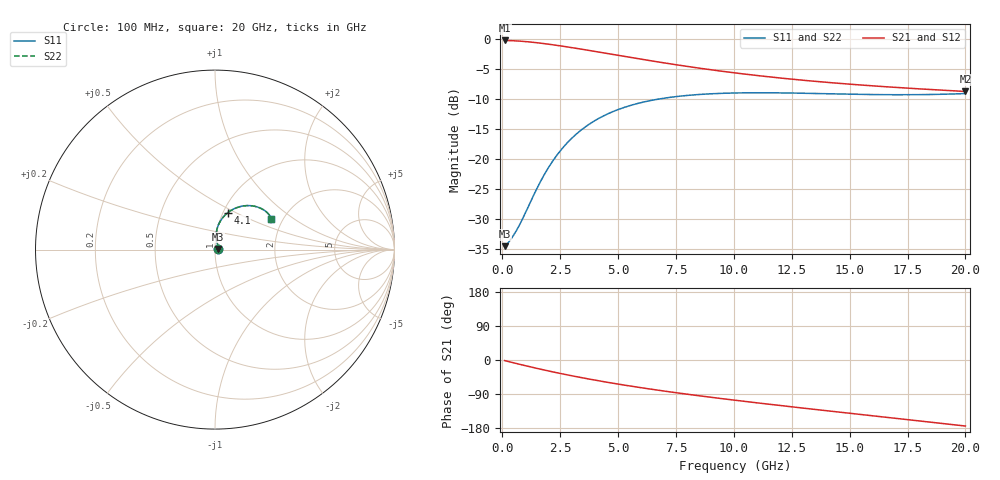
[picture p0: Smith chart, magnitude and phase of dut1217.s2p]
! Touchstone file exported from HFSS 2024.1.0
!  File:  C:/UserFiles/LocalFiles/RDL_TSV_Batchsim/temp_RDL_TSV_1217_1780260960.aedt
!  Generated:  05:13:03 AM Jun  1, 2026
!  Design:  RDL_TSV
!  Project:  temp_RDL_TSV_1217_1780260960
!  Setup:  Setup1
!  Solution:  Sweep
! Variables:
!  dtsv = 7.62um
!  hbump = 3um
!  htsv = 99.11um
!  ldown = 171.18um
!  lrdl = 386.02um
!  p = 40
!  p1 = 47.22um
!  rhole = 10um
!  subl = 2057.62um
!  t = 450um
!  tdown = 2.77um
!  trdl = 3.78um
!  viad = 10um
!  wdown = 11.27um
!  wrdl = 12.11um
!  xbump = 18um
# GHz S MA R 50.000000
! Terminal data exported
! Port[1] = TM1_1_T1
! Port[2] = TM1_4_T1
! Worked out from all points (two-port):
!   200 points, 100 MHz to 20 GHz, reference 50 ohm
!   highest |S21| = -0.17 dB at 100 MHz (marker M1); lowest = -8.7 dB at 20 GHz (marker M2)
!   |S21| within 3 dB of the highest: start of sweep to 5.802 GHz
!   lowest |S11| = -34.5 dB at 100 MHz (marker M3), VSWR 1.04, Z = 51.9 + j0.331 ohm
!   |S11| at or under -10 dB: start of sweep to 6.672 GHz
!   |S22| runs from -34.5 to -8.9 dB; largest |S21 - S12| = 1.4e-14
!   S11 on the Smith chart (normalised r, x): 100 MHz: 1.04, +0.01; 4.1 GHz: 1.05, +0.45; 20 GHz: 1.74, +0.67
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0.1  0.01884 9.8  0.9811 -1.5  0.9811 -1.5  0.01884 9.8
! Gamma 0 0 0 0
! Port Impedance 50 0 50 0
0.3  0.02063 27.2  0.979 -4.6  0.979 -4.6  0.02063 27.2
0.6  0.02524 48.1  0.9729 -9.2  0.9729 -9.2  0.02524 48.1
1.1  0.03939 72.5  0.9567 -16.5  0.9567 -16.5  0.03938 72.5
1.6  0.06259 83.3  0.9343 -23.6  0.9343 -23.6  0.06257 83.3
2.1  0.09186 85.5  0.9078 -30.3  0.9078 -30.3  0.09182 85.5
2.4  0.1109 84.7  0.8907 -34.2  0.8907 -34.2  0.1109 84.7
2.8  0.1369 82.4  0.8671 -39.2  0.8671 -39.2  0.1369 82.4
3.5  0.1812 76.6  0.825 -47.5  0.825 -47.5  0.1812 76.6
4.1  0.2159 71.2  0.7891 -54.2  0.7891 -54.2  0.2158 71.2
4.7  0.2464 65.8  0.7543 -60.5  0.7543 -60.5  0.2464 65.8
5.3  0.2725 60.7  0.721 -66.5  0.721 -66.5  0.2724 60.8
6  0.2974 55.3  0.6845 -73.2  0.6845 -73.2  0.2974 55.3
6.8  0.3193 49.8  0.6461 -80.4  0.6461 -80.4  0.3193 49.8
8.4  0.3464 40.8  0.5801 -93.6  0.5801 -93.6  0.3464 40.9
10.1  0.3578 34.0  0.5245 -106.5  0.5245 -106.5  0.3578 34.0
11.7  0.3588 29.6  0.4835 -118.0  0.4835 -118.0  0.3588 29.6
13.4  0.3546 26.9  0.4492 -129.7  0.4492 -129.7  0.3547 26.9
15  0.3495 25.8  0.4236 -140.6  0.4236 -140.6  0.3496 25.8
16.7  0.346 26.0  0.4015 -152.0  0.4015 -152.0  0.3461 26.0
18.3  0.3469 27.1  0.3841 -162.8  0.3841 -162.8  0.347 27.1
20  0.3536 28.6  0.3683 -174.2  0.3683 -174.2  0.3537 28.6
